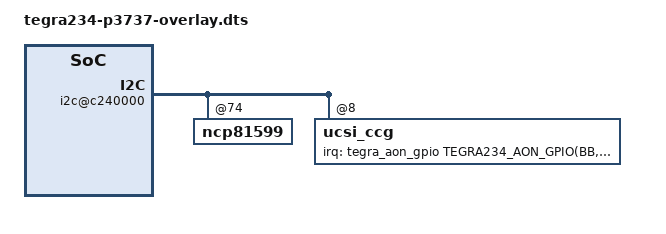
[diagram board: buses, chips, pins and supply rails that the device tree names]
/*
 * Copyright (c) 2022, NVIDIA CORPORATION.  All rights reserved.
 *
 * This program is free software; you can redistribute it and/or modify
 * it under the terms of the GNU General Public License as published by
 * the Free Software Foundation; version 2 of the License.
 *
 * This program is distributed in the hope that it will be useful, but WITHOUT
 * ANY WARRANTY; without even the implied warranty of MERCHANTABILITY or
 * FITNESS FOR A PARTICULAR PURPOSE.  See the GNU General Public License for
 * more details.
 */

/dts-v1/;
/plugin/;

#include <dt-bindings/gpio/tegra234-gpio.h>
#include "dt-bindings/input/input.h"
#include <dt-bindings/interrupt-controller/irq.h>
#include <dt-bindings/sound/tegra-asoc-dais.h>

/ {
	overlay-name = "Add P3737 Overlay Support for A01-A03 and ODMDATA";
	compatible = "nvidia,tegra23x";
	nvidia,dtsfilename = __FILE__;
	nvidia,dtbbuildtime = __DATE__, __TIME__;

	/* PCIe 12V supply through NCP for TS3 */
	fragment@0 {
		target-path = "/";
		board_config {
			ids = "3737-0000-TS3","3737-0000-200","3737-0000-300","3737-0000-EB3";
		};
		 __overlay__ {
			i2c@c240000 {
				ncp81599@74 {
					status = "okay";
				};
			};
			pcie@141a0000 {
				vpcie12v-supply = <&ncp_12v_pcie_supply>;
			};
			pcie_ep@141a0000 {
				vpcie12v-supply = <&ncp_12v_pcie_supply>;
			};
		};
	};

	/* UCSI_CCG and PCIe changes for <= P3737-A03 revision. */
	fragment@1 {
		target-path = "/";
		board_config {
			ids = "3737-0000-TS1","3737-0000-TS2","3737-0000-TS3","3737-0000-EB1","3737-0000-EB2","3737-0000-EB3","3737-0000-000","3737-0000-100","3737-0000-200";
		};
		__overlay__ {
			i2c@c240000 {
				ucsi_ccg@8 {
					interrupt-parent = <&tegra_aon_gpio>;
					interrupts = <TEGRA234_AON_GPIO(BB, 2) IRQ_TYPE_LEVEL_LOW>;
				};
			};
			pcie_ep@141a0000 {
				nvidia,refclk-select-gpios = <&tegra_aon_gpio
							      TEGRA234_AON_GPIO(AA, 4)
							      GPIO_ACTIVE_HIGH>;

			};
			fixed-regulators {
				regulator@105 {
					gpio = <&tegra_main_gpio TEGRA234_MAIN_GPIO(Z, 2) 0>;
				};
			};
		};
	};

	fragment@2 {
		target-path = "/";
		board_config {
			odm-data = "hsio-uphy-config-3";
		};
		__overlay__ {
			ufshci@2500000 {
				nvidia,max-hs-gear = <3>;
				status = "okay";
			};
		};
	};

	/* PCIe C5 root port */
	fragment@3 {
		target-path = "/";
		board_config {
			odm-data = "nvhs-uphy-config-0";
		};
		__overlay__ {
			pcie@141a0000 {
				status = "okay";
			};
			pcie_ep@141a0000 {
				status = "disabled";
			};
		};
	};

	/* PCIe C5 endpoint */
	fragment@4 {
		target-path = "/";
		board_config {
			odm-data = "nvhs-uphy-config-1";
		};
		__overlay__ {
			pcie@141a0000 {
				status = "disabled";
			};
			pcie_ep@141a0000 {
				status = "okay";
			};
		};
	};

	/* Onboard RT5640 audio codec disable changes for <= P3737-A03 revision. */
	fragment@5 {
		target-path = "/i2c@31e0000";
		board_config {
			ids = "3737-0000-TS1","3737-0000-TS2","3737-0000-TS3","3737-0000-EB1","3737-0000-EB2","3737-0000-EB3","3737-0000-000","3737-0000-100","3737-0000-200";
		};
		__overlay__ {
			rt5640.8-001c@1c {
				status = "disabled";
			};
		};
	};

	fragment@6 {
		target-path = "/sound";
		delete_prop = "nvidia-audio-card,widgets", "nvidia-audio-card,routing";
		board_config {
			ids = "3737-0000-TS1","3737-0000-TS2","3737-0000-TS3","3737-0000-EB1","3737-0000-EB2","3737-0000-EB3","3737-0000-000","3737-0000-100","3737-0000-200";
		};
	};

	fragment@7 {
		target-path = "/sound/nvidia-audio-card,dai-link@76";
		delete_prop = "link-name";

		board_config {
			ids = "3737-0000-TS1","3737-0000-TS2","3737-0000-TS3","3737-0000-EB1","3737-0000-EB2","3737-0000-EB3","3737-0000-000","3737-0000-100","3737-0000-200";
		};
		__overlay__ {
			codec {
				sound-dai = <&tegra_i2s1 I2S_DUMMY>;
			};
		};
	};

	fragment@8 {
		target-path = "/";
		board_config {
			odm-data = "disable-tegra-wdt";
		};
		__overlay__ {
			watchdog@2190000 {
				status = "disabled";
			};
		};
	};
};
